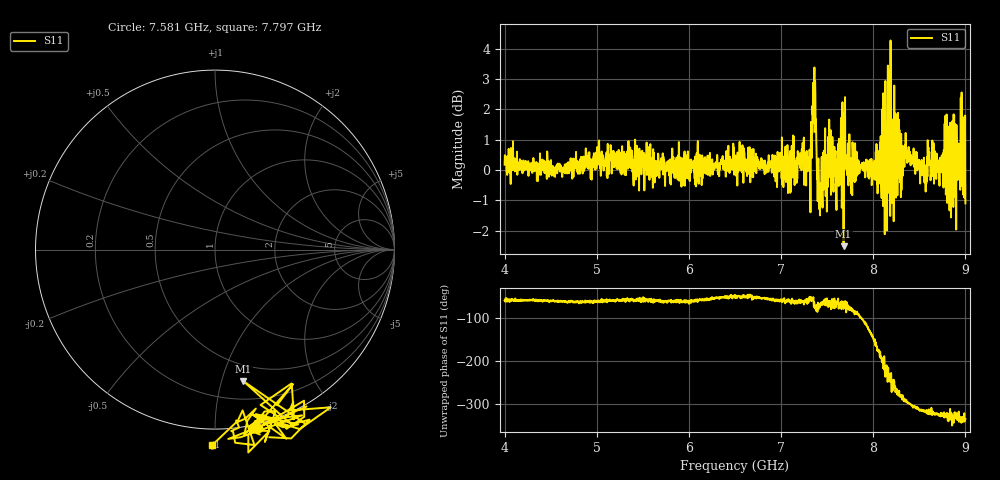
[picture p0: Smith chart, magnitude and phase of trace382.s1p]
! Created with skrf 1.8.0 (http://scikit-rf.org).
# Hz S RI R 50.0
!freq ReS11 ImS11
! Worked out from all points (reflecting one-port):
!   1601 points, 4 GHz to 9 GHz, reference 50 ohm
!   lowest |S11| = -2.5 dB at 7.678 GHz (marker M1), VSWR 6.96, Z = 17.6 - j58.7 ohm
!   phase of S11 starts at -58 deg and turns -278 deg over the sweep
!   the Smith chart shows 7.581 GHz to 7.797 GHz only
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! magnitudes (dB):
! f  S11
! 4 GHz  0.2
! 4.625 GHz  -0.2
! 5.25 GHz  0.2
! 5.875 GHz  0.0
! 6.5 GHz  0.4
! 7.125 GHz  -0.1
! 7.297 GHz  0.4
! 7.359 GHz  2.9
! 7.412 GHz  -0.9
! 7.534 GHz  0.6
! 7.588 GHz  0.5
! 7.678 GHz  -2.5
! 7.75 GHz  0.0
! 8.066 GHz  0.1
! 8.119 GHz  1.7
! 8.128 GHz  0.5
! 8.156 GHz  2.1
! 8.159 GHz  3.4
! 8.162 GHz  0.3
! 8.216 GHz  1.7
! 8.253 GHz  0.1
! 8.312 GHz  0.8
! 8.375 GHz  0.6
! 8.556 GHz  -0.4
! 8.616 GHz  0.3
! 8.919 GHz  0.1
! 8.972 GHz  -0.2
! 9 GHz  -1.1
